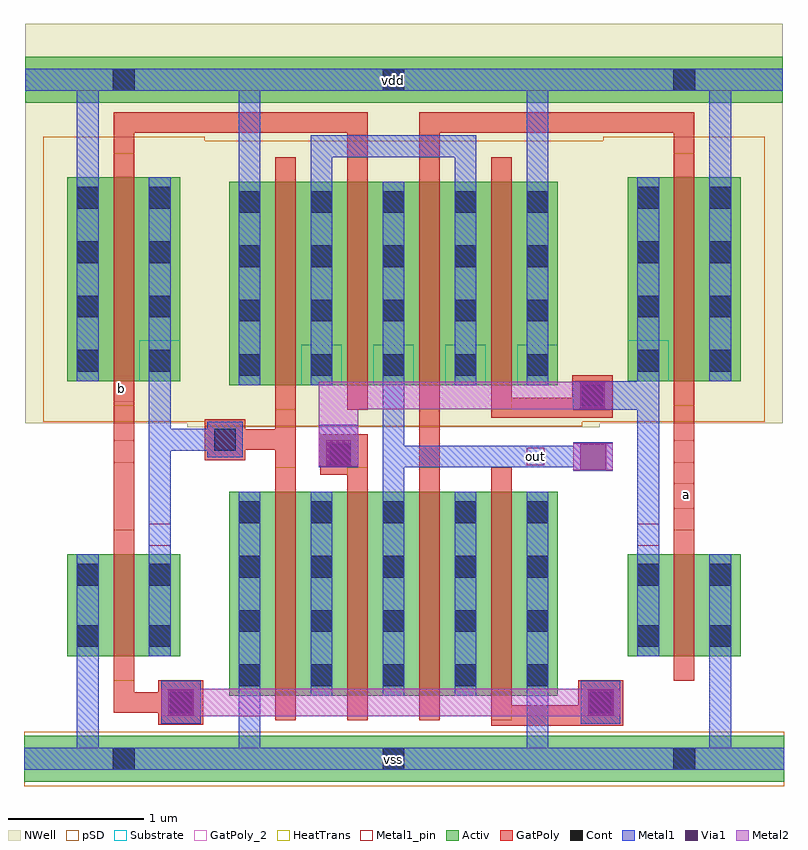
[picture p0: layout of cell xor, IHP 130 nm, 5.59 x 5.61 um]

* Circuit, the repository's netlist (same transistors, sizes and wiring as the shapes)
** sch_path: /home/mateo/GitRepos/IVAN-EAMTA2026/design/blocks/xorgate/schematic/xorgate.sch
**.subckt xorgate vdd out vss a_in b_in
*.iopin out
*.iopin vdd
*.iopin vss
*.iopin a_in
*.iopin b_in
XM0 net3 b_bis vdd vdd sg13_lv_pmos w=1.5u l=0.15u ng=1 m=1
XM1 net3 a_bis vdd vdd sg13_lv_pmos w=1.5u l=0.15u ng=1 m=1
XM2 out a_in net3 vdd sg13_lv_pmos w=1.5u l=0.15u ng=1 m=1
XM3 out b_in net3 vdd sg13_lv_pmos w=1.5u l=0.15u ng=1 m=1
XM4 out a_bis net1 vss sg13_lv_nmos w=1.5u l=0.15u ng=1 m=1
XM5 out a_in net2 vss sg13_lv_nmos w=1.5u l=0.15u ng=1 m=1
XM6 net1 b_bis vss vss sg13_lv_nmos w=1.5u l=0.15u ng=1 m=1
XM7 net2 b_in vss vss sg13_lv_nmos w=1.5u l=0.15u ng=1 m=1
XM8 a_bis a_in vdd vdd sg13_lv_pmos w=1.5u l=0.15u ng=1 m=1
XM9 a_bis a_in vss vss sg13_lv_nmos w=0.75u l=0.15u ng=1 m=1
XM10 b_bis b_in vdd vdd sg13_lv_pmos w=1.5u l=0.15u ng=1 m=1
XM11 b_bis b_in vss vss sg13_lv_nmos w=0.75u l=0.15u ng=1 m=1
**.ends
.end

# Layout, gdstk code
from math import pi, radians
import gdstk
lib = gdstk.Library(unit=1e-6, precision=5e-09)
def R(c, l, rs):  # rectangles x0, y0, x1, y1
    for r in rs: c.add(gdstk.rectangle(r[:2], r[2:], *l))
def A(c, l, x, y, w, h, nx, ny, dx, dy):  # array of equal rectangles
    R(c, l, [(x+i*dx, y+j*dy, x+i*dx+w, y+j*dy+h) for i in range(nx) for j in range(ny)])
Activ = (1, 0)
GatPoly = (5, 0)
GatPoly_2 = (5, 2)
Cont = (6, 0)
Metal1 = (8, 0)
Metal1_pin = (8, 2)
Metal2 = (10, 0)
pSD = (14, 0)
Via1 = (19, 0)
NWell = (31, 0)
Substrate = (40, 0)
HeatTrans = (51, 0)

pmos = lib.new_cell('pmos')
R(pmos, Activ, [(0,0,0.3,0.3), (0,0,0.83,1.5), (0.53,0,0.83,0.3)])
R(pmos, GatPoly, [(0.34,-0.18,0.49,1.68), (0.34,-0.18,0.49,1.68)])
A(pmos, Cont, 0.07, 0.07, 0.16, 0.16, 1, 4, 0, 0.4)
A(pmos, Cont, 0.6, 0.07, 0.16, 0.16, 1, 4, 0, 0.4)
R(pmos, Metal1, [(0.07,0,0.23,1.5), (0.07,0,0.23,1.5), (0.6,0,0.76,1.5), (0.6,0,0.76,1.5)])
R(pmos, pSD, [(-0.18,-0.3,1.01,1.8)])
R(pmos, NWell, [(-0.31,-0.31,1.14,1.81)])
R(pmos, Substrate, [(0.53,0,0.83,0.3)])
R(pmos, HeatTrans, [(0.34,-0.18,0.49,1.68)])
pmos.add(gdstk.Label('pmos', (0.415,0.75), layer=63, texttype=0))
pmos.add(gdstk.Label('pmos', (0.415,0.75), layer=51, texttype=0))

nmos = lib.new_cell('nmos')
R(nmos, Activ, [(0,0,0.3,0.3), (0,0,0.83,1.5), (0.53,0,0.83,0.3)])
R(nmos, GatPoly, [(0.34,-0.18,0.49,1.68)])
R(nmos, GatPoly_2, [(0.34,-0.18,0.49,1.68)])
A(nmos, Cont, 0.07, 0.07, 0.16, 0.16, 1, 4, 0, 0.4)
A(nmos, Cont, 0.6, 0.07, 0.16, 0.16, 1, 4, 0, 0.4)
R(nmos, Metal1, [(0.07,0,0.23,1.5), (0.6,0,0.76,1.5)])
R(nmos, Metal1_pin, [(0.07,0,0.23,1.5), (0.6,0,0.76,1.5)])
R(nmos, HeatTrans, [(0.34,-0.18,0.49,1.68)])
nmos.add(gdstk.Label('nmos', (0.415,0.75), layer=63, texttype=0))
nmos.add(gdstk.Label('nmos', (0.415,0.75), layer=51, texttype=0))

via_stack_1 = lib.new_cell('via_stack$1')
R(via_stack_1, Metal1, [(-0.145,-0.105,0.145,0.105)])
R(via_stack_1, Metal2, [(-0.145,-0.1,0.145,0.1)])
R(via_stack_1, Via1, [(-0.095,-0.095,0.095,0.095)])

m1_cont1_pmos = lib.new_cell('M1_Cont1_PMOS')
R(m1_cont1_pmos, Activ, [(-0.72,-0.175,0.73,0.165)])
R(m1_cont1_pmos, Cont, [(-0.075,-0.085,0.085,0.075)])
R(m1_cont1_pmos, Metal1, [(-0.72,-0.085,0.73,0.075)])
R(m1_cont1_pmos, Metal1_pin, [(-0.72,-0.085,0.73,0.075)])
R(m1_cont1_pmos, NWell, [(-0.72,-0.415,0.73,0.405)])

m1_bulkcont1_pmos = lib.new_cell('M1_BulkCont1_PMOS')
r = gdstk.Reference(m1_cont1_pmos, (-0.015,-0.015)); r.repetition = gdstk.Repetition(1, 1, v1=(0,0), v2=(0,0)); m1_bulkcont1_pmos.add(r)

m1_cont1_nmos = lib.new_cell('M1_Cont1_NMOS')
R(m1_cont1_nmos, Activ, [(-0.725,-0.175,0.725,0.165)])
R(m1_cont1_nmos, Cont, [(-0.07,-0.085,0.09,0.075)])
R(m1_cont1_nmos, Metal1, [(-0.725,-0.085,0.725,0.075)])
R(m1_cont1_nmos, Metal1_pin, [(-0.725,-0.085,0.725,0.075)])
R(m1_cont1_nmos, pSD, [(-0.725,-0.205,0.725,0.195)])

m1_bulkcont1_nmos = lib.new_cell('M1_BulkCont1_NMOS')
r = gdstk.Reference(m1_cont1_nmos, (0.005,0.01)); r.repetition = gdstk.Repetition(1, 1, v1=(0,0), v2=(0,0)); m1_bulkcont1_nmos.add(r)

nmos_2 = lib.new_cell('nmos$2')
R(nmos_2, Activ, [(0,0,0.3,0.3), (0,0,0.83,0.75), (0.53,0,0.83,0.3)])
R(nmos_2, GatPoly, [(0.34,-0.18,0.49,0.93)])
R(nmos_2, GatPoly_2, [(0.34,-0.18,0.49,0.93)])
R(nmos_2, Cont, [(0.07,0.07,0.23,0.23), (0.6,0.07,0.76,0.23), (0.07,0.52,0.23,0.68), (0.6,0.52,0.76,0.68)])
R(nmos_2, Metal1, [(0.07,0,0.23,0.75), (0.6,0,0.76,0.75)])
R(nmos_2, Metal1_pin, [(0.07,0,0.23,0.75), (0.6,0,0.76,0.75)])
R(nmos_2, HeatTrans, [(0.34,-0.18,0.49,0.93)])
nmos_2.add(gdstk.Label('nmos', (0.415,0.375), layer=63, texttype=0))
nmos_2.add(gdstk.Label('nmos', (0.415,0.375), layer=51, texttype=0))

pmos_1_1 = lib.new_cell('pmos$1$1')
R(pmos_1_1, Activ, [(0,0,0.3,0.3), (0,0,0.83,1.5), (0.53,0,0.83,0.3)])
R(pmos_1_1, GatPoly, [(0.34,-0.18,0.49,1.68), (0.34,-0.18,0.49,1.68)])
A(pmos_1_1, Cont, 0.07, 0.07, 0.16, 0.16, 1, 4, 0, 0.4)
A(pmos_1_1, Cont, 0.6, 0.07, 0.16, 0.16, 1, 4, 0, 0.4)
R(pmos_1_1, Metal1, [(0.07,0,0.23,1.5), (0.07,0,0.23,1.5), (0.6,0,0.76,1.5), (0.6,0,0.76,1.5)])
R(pmos_1_1, pSD, [(-0.18,-0.3,1.01,1.8)])
R(pmos_1_1, NWell, [(-0.31,-0.31,1.14,1.81)])
R(pmos_1_1, Substrate, [(0.53,0,0.83,0.3)])
R(pmos_1_1, HeatTrans, [(0.34,-0.18,0.49,1.68)])
pmos_1_1.add(gdstk.Label('pmos', (0.415,0.75), layer=63, texttype=0))
pmos_1_1.add(gdstk.Label('pmos', (0.415,0.75), layer=51, texttype=0))

inverter_1 = lib.new_cell('inverter$1')
R(inverter_1, GatPoly, [(-0.075,-1.72,0.075,0.805)])
R(inverter_1, GatPoly_2, [(-0.075,-0.425,0.075,-0.26)])
R(inverter_1, Cont, [(-0.08,-2.685,0.08,-2.525), (-0.08,2.315,0.08,2.475)])
R(inverter_1, Metal1, [(-0.345,-2.685,-0.185,-1.72), (0.185,-1.72,0.345,0.805), (-0.345,1.37,-0.185,2.475)])
R(inverter_1, Metal1_pin, [(-0.08,-2.685,0.08,-2.525), (0.185,-1.035,0.345,-0.875), (-0.08,2.315,0.08,2.475)])
inverter_1.add(gdstk.Reference(m1_bulkcont1_pmos, (0.01,2.415)))
inverter_1.add(gdstk.Reference(m1_bulkcont1_nmos, (-0.015,-2.61)))
inverter_1.add(gdstk.Reference(nmos_2, (-0.415,-1.85)))
inverter_1.add(gdstk.Reference(pmos_1_1, (-0.415,0.175)))
inverter_1.add(gdstk.Label('vdd', (-0.015,2.39), layer=8, texttype=2))
inverter_1.add(gdstk.Label('vss', (-0.01,-2.62), layer=8, texttype=2))
inverter_1.add(gdstk.Label('out', (0.27,-0.95), layer=8, texttype=2))
inverter_1.add(gdstk.Label('in', (-0.025,-0.34), layer=5, texttype=2))

m1_cont1_pmos_1 = lib.new_cell('M1_Cont1_PMOS$1')
R(m1_cont1_pmos_1, Activ, [(-0.72,-0.175,0.73,0.165)])
R(m1_cont1_pmos_1, Cont, [(-0.075,-0.085,0.085,0.075)])
R(m1_cont1_pmos_1, Metal1, [(-0.72,-0.085,0.73,0.075)])
R(m1_cont1_pmos_1, Metal1_pin, [(-0.72,-0.085,0.73,0.075)])
R(m1_cont1_pmos_1, NWell, [(-0.72,-0.415,0.73,0.405)])

m1_bulkcont1_pmos_1 = lib.new_cell('M1_BulkCont1_PMOS$1')
r = gdstk.Reference(m1_cont1_pmos_1, (-0.015,-0.015)); r.repetition = gdstk.Repetition(1, 1, v1=(0,0), v2=(0,0)); m1_bulkcont1_pmos_1.add(r)

m1_cont1_nmos_1 = lib.new_cell('M1_Cont1_NMOS$1')
R(m1_cont1_nmos_1, Activ, [(-0.725,-0.175,0.725,0.165)])
R(m1_cont1_nmos_1, Cont, [(-0.07,-0.085,0.09,0.075)])
R(m1_cont1_nmos_1, Metal1, [(-0.725,-0.085,0.725,0.075)])
R(m1_cont1_nmos_1, Metal1_pin, [(-0.725,-0.085,0.725,0.075)])
R(m1_cont1_nmos_1, pSD, [(-0.725,-0.205,0.725,0.195)])

m1_bulkcont1_nmos_1 = lib.new_cell('M1_BulkCont1_NMOS$1')
r = gdstk.Reference(m1_cont1_nmos_1, (0.005,0.01)); r.repetition = gdstk.Repetition(1, 1, v1=(0,0), v2=(0,0)); m1_bulkcont1_nmos_1.add(r)

pmos_1 = lib.new_cell('pmos$1')
R(pmos_1, Activ, [(0,0,0.3,0.3), (0,0,0.83,1.5), (0.53,0,0.83,0.3)])
R(pmos_1, GatPoly, [(0.34,-0.18,0.49,1.68), (0.34,-0.18,0.49,1.68)])
A(pmos_1, Cont, 0.07, 0.07, 0.16, 0.16, 1, 4, 0, 0.4)
A(pmos_1, Cont, 0.6, 0.07, 0.16, 0.16, 1, 4, 0, 0.4)
R(pmos_1, Metal1, [(0.07,0,0.23,1.5), (0.07,0,0.23,1.5), (0.6,0,0.76,1.5), (0.6,0,0.76,1.5)])
R(pmos_1, pSD, [(-0.18,-0.3,1.01,1.8)])
R(pmos_1, NWell, [(-0.31,-0.31,1.14,1.81)])
R(pmos_1, Substrate, [(0.53,0,0.83,0.3)])
R(pmos_1, HeatTrans, [(0.34,-0.18,0.49,1.68)])
pmos_1.add(gdstk.Label('pmos', (0.415,0.75), layer=63, texttype=0))
pmos_1.add(gdstk.Label('pmos', (0.415,0.75), layer=51, texttype=0))

nmos_3 = lib.new_cell('nmos$3')
R(nmos_3, Activ, [(0,0,0.3,0.3), (0,0,0.83,0.75), (0.53,0,0.83,0.3)])
R(nmos_3, GatPoly, [(0.34,-0.18,0.49,0.93)])
R(nmos_3, GatPoly_2, [(0.34,-0.18,0.49,0.93)])
R(nmos_3, Cont, [(0.07,0.07,0.23,0.23), (0.6,0.07,0.76,0.23), (0.07,0.52,0.23,0.68), (0.6,0.52,0.76,0.68)])
R(nmos_3, Metal1, [(0.07,0,0.23,0.75), (0.6,0,0.76,0.75)])
R(nmos_3, Metal1_pin, [(0.07,0,0.23,0.75), (0.6,0,0.76,0.75)])
R(nmos_3, HeatTrans, [(0.34,-0.18,0.49,0.93)])
nmos_3.add(gdstk.Label('nmos', (0.415,0.375), layer=63, texttype=0))
nmos_3.add(gdstk.Label('nmos', (0.415,0.375), layer=51, texttype=0))

inverter = lib.new_cell('inverter')
R(inverter, GatPoly, [(-0.075,-1.235,0.075,0.805)])
R(inverter, GatPoly_2, [(-0.075,-0.425,0.075,-0.26)])
R(inverter, Cont, [(-0.08,-2.685,0.08,-2.525), (-0.08,2.315,0.08,2.475)])
R(inverter, Metal1, [(-0.345,-2.685,-0.185,-1.72), (0.185,-1.305,0.345,0.805), (-0.345,1.37,-0.185,2.475)])
R(inverter, Metal1_pin, [(-0.08,-2.685,0.08,-2.525), (0.185,-1.035,0.345,-0.875), (-0.08,2.315,0.08,2.475)])
inverter.add(gdstk.Reference(m1_bulkcont1_pmos_1, (0.01,2.415)))
inverter.add(gdstk.Reference(m1_bulkcont1_nmos_1, (-0.015,-2.61)))
inverter.add(gdstk.Reference(pmos_1, (-0.415,0.175)))
inverter.add(gdstk.Reference(nmos_3, (-0.415,-1.85)))
inverter.add(gdstk.Label('vdd', (-0.015,2.39), layer=8, texttype=2))
inverter.add(gdstk.Label('vss', (-0.01,-2.62), layer=8, texttype=2))
inverter.add(gdstk.Label('out', (0.27,-0.95), layer=8, texttype=2))
inverter.add(gdstk.Label('in', (-0.025,-0.34), layer=5, texttype=2))

xor = lib.new_cell('xor')
R(xor, Activ, [(-2.81,-1.84,0.015,-1.5), (-2.93,3.16,0.11,3.5)])
R(xor, GatPoly, [(-0.69,-1.425,-0.54,-1.085), (-0.69,-1.425,0.21,-1.275), (-0.05,-1.425,0.28,-1.09), (-3.14,-1.42,-2.81,-1.09), (0.655,0.17,0.805,0.36), (-2.28,0.22,-2.13,1.195), (-1.95,0.42,-1.6,0.72), (-2.8,0.53,-2.5,0.83), (-0.69,0.84,0.06,0.99), (-0.095,0.84,0.205,1.155), (-3.47,0.96,-3.32,1.15), (-3.47,0.96,-3.32,1.15), (-1.75,2.46,-1.6,3.09), (-1.22,2.69,-1.07,3.09)])
R(xor, GatPoly_2, [(0.655,0.17,0.805,0.36), (-3.47,0.96,-3.32,1.15)])
R(xor, Cont, [(-1.49,-1.75,-1.33,-1.59), (-3.055,-1.335,-2.895,-1.175), (0.035,-1.335,0.195,-1.175), (-1.88,0.49,-1.72,0.65), (-2.73,0.6,-2.57,0.76), (-0.025,0.925,0.135,1.085), (-1.49,3.25,-1.33,3.41)])
R(xor, Metal1, [(-2.81,-1.75,0.015,-1.59), (-0.43,-1.745,-0.27,-0.95), (-3.12,-1.41,-2.83,-1.095), (-0.03,-1.41,0.26,-1.095), (-1.96,0.475,-1.67,0.79), (-1.49,0.475,-0.085,0.635), (-2.78,0.55,-2.52,0.81), (0.2,0.9,0.52,1.11), (-2.55,2.465,-2.39,3.41), (-0.43,2.465,-0.27,3.41), (-2.93,3.25,0.11,3.41)])
R(xor, Metal1_pin, [(-2.81,-1.75,0.015,-1.59), (-2.81,-1.75,0.015,-1.59), (-1.475,-1.74,-1.345,-1.61), (-0.43,0.49,-0.3,0.62), (-2.93,3.25,0.11,3.41), (-1.475,3.26,-1.345,3.39)])
R(xor, Metal2, [(-1.96,0.685,-1.67,1.105), (-1.96,0.905,-0.05,1.105)])
R(xor, pSD, [(-2.81,-1.87,0.015,-1.47), (-0.02,0.81,0.135,2.88)])
R(xor, NWell, [(-2.93,2.89,0.11,3.74)])
xor.add(gdstk.FlexPath([(-1.94,2.58),(-1.94,2.84),(-0.88,2.84),(-0.88,2.58)], 0.16, ends="flush", simple_path=True, layer=8, datatype=0))  # Metal1
xor.add(gdstk.FlexPath([(-2.65,0.68),(-3.05,0.68)], 0.16, ends="flush", simple_path=True, layer=8, datatype=0))  # Metal1
xor.add(gdstk.FlexPath([(-2.47,-0.975),(-2.47,-1.75)], 0.16, ends="flush", simple_path=True, layer=8, datatype=0))  # Metal1
xor.add(gdstk.FlexPath([(-1.41,1.345),(-1.41,0.01),(-1.41,-0.07),(-1.41,-0.07)], 0.16, ends="flush", simple_path=True, layer=8, datatype=0))  # Metal1
xor.add(gdstk.FlexPath([(-1.22,3.015),(0.73,3.015),(0.73,2.875),(0.73,2.655)], 0.15, ends="flush", simple_path=True, layer=5, datatype=0))  # GatPoly
xor.add(gdstk.FlexPath([(-3.07,-1.255),(-3.395,-1.255),(-3.395,-0.915)], 0.15, ends="flush", simple_path=True, layer=5, datatype=0))  # GatPoly
xor.add(gdstk.FlexPath([(-1.6,3.015),(-3.395,3.015),(-3.395,2.73),(-3.395,2.5)], 0.15, ends="flush", simple_path=True, layer=5, datatype=0))  # GatPoly
xor.add(gdstk.FlexPath([(-2.65,0.68),(-2.28,0.68)], 0.15, ends="flush", simple_path=True, layer=5, datatype=0))  # GatPoly
xor.add(gdstk.FlexPath([(-1.145,1.19),(-1.145,0.295),(-1.145,0.295)], 0.15, ends="flush", simple_path=True, layer=5, datatype=0))  # GatPoly
xor.add(gdstk.FlexPath([(-3.12,-1.255),(0.21,-1.255)], 0.2, ends="flush", simple_path=True, layer=10, datatype=0))  # Metal2
xor.add(gdstk.Reference(pmos, (-1.56,1.08)))
xor.add(gdstk.Reference(pmos, (-2.62,1.08)))
xor.add(gdstk.Reference(pmos, (-1.03,1.08)))
xor.add(gdstk.Reference(pmos, (-2.09,1.08)))
xor.add(gdstk.Reference(nmos, (-1.56,-1.205)))
xor.add(gdstk.Reference(nmos, (-1.03,-1.205)))
xor.add(gdstk.Reference(nmos, (-2.09,-1.205)))
xor.add(gdstk.Reference(nmos, (-2.62,-1.205)))
xor.add(gdstk.Reference(via_stack_1, (-2.975,-1.255)))
xor.add(gdstk.Reference(via_stack_1, (0.115,-1.255)))
xor.add(gdstk.Reference(via_stack_1, (-1.815,0.585)))
xor.add(gdstk.Reference(inverter_1, (-3.395,0.935)))
xor.add(gdstk.Reference(inverter, (0.73,0.935), rotation=pi, x_reflection=True))
xor.add(gdstk.Reference(via_stack_1, (0.06,0.555)))
xor.add(gdstk.Reference(via_stack_1, (0.055,1.005)))
xor.add(gdstk.Label('a', (0.745,0.275), layer=5, texttype=2))
xor.add(gdstk.Label('b', (-3.415,1.06), layer=5, texttype=2))
xor.add(gdstk.Label('out', (-0.365,0.555), layer=8, texttype=25))
xor.add(gdstk.Label('vss', (-1.41,-1.675), layer=8, texttype=25))
xor.add(gdstk.Label('vdd', (-1.41,3.325), layer=8, texttype=25))

lib.write_gds('xor.gds')
